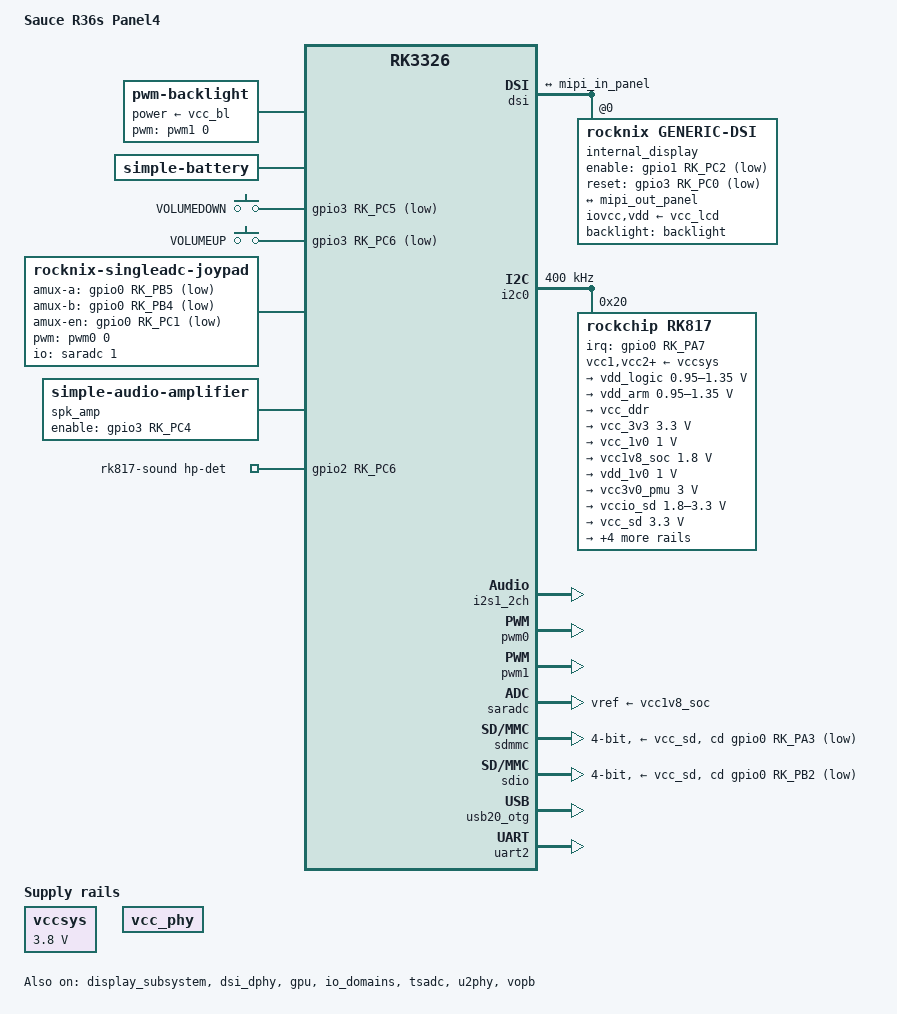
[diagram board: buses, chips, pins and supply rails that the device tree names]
// SPDX-License-Identifier: (GPL-2.0+ OR MIT)
/*
* # Copyright (C) 2022-26 AURKNIX (https://github.com/AveyondFly)
*/

/dts-v1/;
#include <dt-bindings/gpio/gpio.h>
#include <dt-bindings/input/input.h>
#include <dt-bindings/leds/common.h>
#include <dt-bindings/pinctrl/rockchip.h>
#include "rk3326.dtsi"

/ {
	model = "Sauce R36s Panel4";
	compatible = "sauce,r36s", "rockchip,rk3326";
	
	aliases {
		mmc1 = &sdio;
		mmc0 = &sdmmc;
	};
	
	chosen {
		stdout-path = "serial2:115200n8";
	};
	
	backlight: backlight {
		compatible = "pwm-backlight";
		power-supply = <&vcc_bl>;
		pwms = <&pwm1 0 40000 0>;
		brightness-levels = <
		0   1   2   3   4   5   6   7
		8   9  10  11  12  13  14  15
		16  17  18  19  20  21  22  23
		24  25  26  27  28  29  30  31
		32  33  34  35  36  37  38  39
		40  41  42  43  44  45  46  47
		48  49  50  51  52  53  54  55
		56  57  58  59  60  61  62  63
		64  65  66  67  68  69  70  71
		72  73  74  75  76  77  78  79
		80  81  82  83  84  85  86  87
		88  89  90  91  92  93  94  95
		96  97  98  99 100 101 102 103
		104 105 106 107 108 109 110 111
		112 113 114 115 116 117 118 119
		120 121 122 123 124 125 126 127
		128 129 130 131 132 133 134 135
		136 137 138 139 140 141 142 143
		144 145 146 147 148 149 150 151
		152 153 154 155 156 157 158 159
		160 161 162 163 164 165 166 167
		168 169 170 171 172 173 174 175
		176 177 178 179 180 181 182 183
		184 185 186 187 188 189 190 191
		192 193 194 195 196 197 198 199
		200 201 202 203 204 205 206 207
		208 209 210 211 212 213 214 215
		216 217 218 219 220 221 222 223
		224 225 226 227 228 229 230 231
		232 233 234 235 236 237 238 239
		240 241 242 243 244 245 246 247
		248 249 250 251 252 253 254 255>;
		default-brightness-level = <80>;
	};
	
	battery: battery {
		compatible = "simple-battery";
		charge-full-design-microamp-hours = <3000000>;
		charge-term-current-microamp = <200000>;
		constant-charge-current-max-microamp = <1500000>;
		constant-charge-voltage-max-microvolt = <4200000>;
		factory-internal-resistance-micro-ohms = <100000>;
		voltage-max-design-microvolt = <4100000>;
		voltage-min-design-microvolt = <3300000>;
		
		ocv-capacity-celsius = <20>;
		ocv-capacity-table-0 =
		<4046950 100>, <4001920 95>, <3967900 90>, <3940000 85>,
		<3910000 80>, <3870000 75>, <3830000 70>, <3790000 65>,
		<3750000 60>, <3720000 55>, <3690000 50>, <3650000 45>,
		<3610000 40>, <3570000 35>, <3540000 30>, <3500000 25>,
		<3460000 20>, <3420000 15>, <3380000 10>, <3340000 5>,
		<3300000 0>;
	};
	
	gpio-keys-vol {
		compatible = "gpio-keys";
		autorepeat;
		pinctrl-0 = <&btn_pins_vol>;
		pinctrl-names = "default";
		
		button-vol-down {
			gpios = <&gpio3 RK_PC5 GPIO_ACTIVE_LOW>;
			label = "VOLUMEDOWN";
			linux,code = <KEY_VOLUMEDOWN>;
		};
		
		button-volume-up {
			gpios = <&gpio3 RK_PC6 GPIO_ACTIVE_LOW>;
			label = "VOLUMEUP";
			linux,code = <KEY_VOLUMEUP>;
		};
	};
	
	joypad: rocknix-singleadc-joypad {
		compatible = "rocknix-singleadc-joypad";
		pwms = <&pwm0 0 200000000 0>;
		pwm-names = "enable";
		rumble-boost-weak = <0x0000>;
		rumble-boost-strong = <0x0000>;
		
		joypad-name = "retrogame_joypad";
		joypad-vendor = <0x484B>;
		joypad-product = <0x1101>;
		joypad-revision = <0x0100>;
		
		status = "okay";
		
		/* gpio pincontrol setup */
		pinctrl-names = "default";
		pinctrl-0 = <&btn_pins>;
		pinctrl-1 = <&pwm0_pin>;
		
		/* Analog mux define */
		io-channel-names = "amux_adc";
		io-channels = <&saradc 1>;
		
		/* adc mux channel count */
		amux-count = <4>;
		amux-channel-mapping = <3 2 0 1>;
		/* adc mux select(a,b) gpio */
		amux-a-gpios = <&gpio0 RK_PB5 GPIO_ACTIVE_LOW>;
		amux-b-gpios = <&gpio0 RK_PB4 GPIO_ACTIVE_LOW>;
		/* adc mux enable gpio */
		amux-en-gpios = <&gpio0 RK_PC1 GPIO_ACTIVE_LOW>;
		
		/* adc calculate scale */
		button-adc-scale = <2>;
		
		/* adc deadzone range  */
		button-adc-deadzone = <64>;
		
		/*
		specifies fuzz value that is used to filter noise from
		the event stream.
		*/
		button-adc-fuzz = <32>;
		button-adc-flat = <32>;
		
		/*
		Analog Stick data tuning value(precent)
		p = positive direction, n = negative direction
		report value = (real_adc_data * tuning_value) / 100
		*/
		abs_x-p-tuning = <300>;
		abs_x-n-tuning = <300>;
		
		abs_y-p-tuning = <300>;
		abs_y-n-tuning = <300>;
		
		abs_rx-p-tuning = <300>;
		abs_rx-n-tuning = <300>;
		
		abs_ry-p-tuning = <300>;
		abs_ry-n-tuning = <300>;
		
		/* poll device interval (ms), adc read interval */
		poll-interval = <10>;
		
		/* required for RG36S */
		invert-absx;
		invert-absy;
		
		/* gpio button auto repeat set value : default disable */
		/*
		autorepeat;
		*/
		
		/*
		joypad driver is poll-device driver.
		poll-device is does not support wakeup-source.
		*/
		sw1 {
			gpios = <&gpio3 RK_PA7 GPIO_ACTIVE_LOW>;
			label = "GPIO DPAD-UP";
			linux,code = <BTN_DPAD_UP>;
		};
		sw2 {
			gpios = <&gpio3 RK_PB0 GPIO_ACTIVE_LOW>;
			label = "GPIO DPAD-DOWN";
			linux,code = <BTN_DPAD_DOWN>;
		};
		sw3 {
			gpios = <&gpio3 RK_PB2 GPIO_ACTIVE_LOW>;
			label = "GPIO DPAD-LEFT";
			linux,code = <BTN_DPAD_LEFT>;
		};
		sw4 {
			gpios = <&gpio3 RK_PB1 GPIO_ACTIVE_LOW>;
			label = "GPIO DPAD-RIGHT";
			linux,code = <BTN_DPAD_RIGHT>;
		};
		sw5 {
			gpios = <&gpio3 RK_PB6 GPIO_ACTIVE_LOW>;
			label = "GPIO BTN-A";
			linux,code = <BTN_EAST>;
		};
		sw6 {
			gpios = <&gpio3 RK_PB4 GPIO_ACTIVE_LOW>;
			label = "GPIO BTN-B";
			linux,code = <BTN_SOUTH>;
		};
		sw7 {
			gpios = <&gpio3 RK_PB3 GPIO_ACTIVE_LOW>;
			label = "GPIO BTN-Y";
			linux,code = <BTN_WEST>;
		};
		sw8 {
			gpios = <&gpio3 RK_PB5 GPIO_ACTIVE_LOW>;
			label = "GPIO BTN-X";
			linux,code = <BTN_NORTH>;
		};
		sw11 {
			gpios = <&gpio0 RK_PB3 GPIO_ACTIVE_LOW>;
			label = "BTN_THUMBL";
			linux,code = <BTN_THUMBL>;
		};
		sw12 {
			gpios = <&gpio3 RK_PD3 GPIO_ACTIVE_LOW>;
			label = "BTN_THUMBR";
			linux,code = <BTN_THUMBR>;
		};
		sw13 {
			gpios = <&gpio3 RK_PA4 GPIO_ACTIVE_LOW>;
			label = "GPIO BTN_F";
			linux,code = <BTN_MODE>;
		};
		sw15 {
			gpios = <&gpio3 RK_PA3 GPIO_ACTIVE_LOW>;
			label = "GPIO BTN_TL";
			linux,code = <BTN_TL>;
		};
		sw16 {
			gpios = <&gpio3 RK_PA0 GPIO_ACTIVE_LOW>;
			label = "GPIO BTN_TR";
			linux,code = <BTN_TR>;
		};
		sw19 {
			gpios = <&gpio3 RK_PA5 GPIO_ACTIVE_LOW>;
			label = "BTN_SELECT";
			linux,code = <BTN_SELECT>;
		};
		sw20 {
			gpios = <&gpio3 RK_PA2 GPIO_ACTIVE_LOW>;
			label = "GPIO BTN_TL2";
			linux,code = <BTN_TL2>;
		};
		sw21 {
			gpios = <&gpio3 RK_PA1 GPIO_ACTIVE_LOW>;
			label = "GPIO BTN_TR2";
			linux,code = <BTN_TR2>;
		};
		sw22 {
			gpios = <&gpio3 RK_PA6 GPIO_ACTIVE_LOW>;
			label = "BTN_START";
			linux,code = <BTN_START>;
		};
	};
	
	spk_amp: audio-amplifier {
		compatible = "simple-audio-amplifier";
		enable-gpios = <&gpio3 RK_PC4 GPIO_ACTIVE_HIGH>;
		pinctrl-0 = <&spk_amp_enable_h>;
		pinctrl-names = "default";
		sound-name-prefix = "Speaker Amp";
	};
	
	rk817-sound {
		compatible = "simple-audio-card";
		pinctrl-names = "default";
		pinctrl-0 = <&hp_det>;
		simple-audio-card,name = "rk817_ext";
		simple-audio-card,aux-devs = <&spk_amp>;
		simple-audio-card,format = "i2s";
		simple-audio-card,hp-det-gpio = <&gpio2 RK_PC6 GPIO_ACTIVE_HIGH>;
		simple-audio-card,mclk-fs = <256>;
		simple-audio-card,widgets =
		"Headphone", "Headphones",
		"Speaker", "Internal Speakers";
		/* despite it's just a mono speaker, we need to route both Speaker Amp channels
		Otherwise, the second channel stays on and keeps amp enabled */
		simple-audio-card,routing =
		"Headphones", "HPOL",
		"Headphones", "HPOR",
		"Internal Speakers", "Speaker Amp OUTL",
		"Internal Speakers", "Speaker Amp OUTR",
		"Speaker Amp INL", "HPOL",
		"Speaker Amp INR", "HPOR";
		
		simple-audio-card,pin-switches = "Internal Speakers";
		
		simple-audio-card,codec {
			sound-dai = <&rk817>;
		};
		
		simple-audio-card,cpu {
			sound-dai = <&i2s1_2ch>;
		};
	};

	vccsys: vccsys {
		compatible = "regulator-fixed";
		regulator-name = "vcc3v8_sys";
		regulator-always-on;
		regulator-min-microvolt = <3800000>;
		regulator-max-microvolt = <3800000>;
	};
	
	vcc-phy-regulator {
		compatible = "regulator-fixed";
		regulator-name = "vcc_phy";
		regulator-always-on;
		regulator-boot-on;
	};
};

&dmc {
	center-supply = <&vdd_logic>;
};

&cpu0 {
	cpu-supply = <&vdd_arm>;
};

&cpu1 {
	cpu-supply = <&vdd_arm>;
};

&cpu2 {
	cpu-supply = <&vdd_arm>;
};

&cpu3 {
	cpu-supply = <&vdd_arm>;
};

&cru {
	assigned-clocks = <&cru PLL_NPLL>,
	<&cru ACLK_BUS_PRE>, <&cru ACLK_PERI_PRE>,
	<&cru HCLK_BUS_PRE>, <&cru HCLK_PERI_PRE>,
	<&cru PCLK_BUS_PRE>, <&cru SCLK_GPU>;
	
	assigned-clock-rates = <1188000000>,
	<200000000>, <200000000>,
	<150000000>, <150000000>,
	<100000000>, <200000000>;
};

&display_subsystem {
	status = "okay";
};

&dsi {
	status = "okay";
	
	ports {
		mipi_out: port@1 {
			reg = <1>;
			
			mipi_out_panel: endpoint {
				remote-endpoint = <&mipi_in_panel>;
			};
		};
	};
	
	internal_display: panel@0 {
		compatible = "rocknix,generic-dsi";
		iovcc-supply = <&vcc_lcd>;
		vdd-supply = <&vcc_lcd>;
		reg = <0>;
		backlight = <&backlight>;
		enable-gpios = <&gpio1 RK_PC2 GPIO_ACTIVE_LOW>;
		reset-gpios = <&gpio3 RK_PC0 GPIO_ACTIVE_LOW>;
		pinctrl-names = "default";
		pinctrl-0 = <&lcd_rst>;
		panel_description =
		"G size=71,71 delays=100,50,20,200,50 format=rgb888 lanes=4 flags=0xe03",
		
		"M clock=40000 horizontal=640,46,2,44 vertical=480,16,2,14 default=1",
		"M clock=19950 horizontal=640,46,11,44 vertical=480,16,29,14",
		"M clock=19110 horizontal=640,46,5,44 vertical=480,16,10,14",
		"M clock=19650 horizontal=640,46,33,44 vertical=480,16,5,14",
		"M clock=22080 horizontal=640,46,20,44 vertical=480,16,2,14",
		"M clock=26740 horizontal=640,46,10,44 vertical=480,16,95,14",
		"M clock=23940 horizontal=640,46,11,44 vertical=480,16,29,14",
		"M clock=23040 horizontal=640,46,20,44 vertical=480,16,2,14",
		"M clock=22920 horizontal=640,46,2,44 vertical=480,16,11,14",
		"M clock=35310 horizontal=640,46,32,44 vertical=480,16,104,14",
		"M clock=40230 horizontal=640,46,20,44 vertical=480,16,86,14",
		"M clock=46080 horizontal=640,46,20,44 vertical=480,16,2,14",
		
		"I seq=ff30", "I seq=ff52", "I seq=ff01",
		"I seq=e300",
		"I seq=2510",
		"I seq=286f", "I seq=2901", "I seq=2adf", "I seq=2c22",
		"I seq=c30f",
		"I seq=379c",
		"I seq=38a7", "I seq=3941",
		"I seq=8020",
		"I seq=9167", "I seq=9267",
		"I seq=a055", "I seq=a150", "I seq=a358", "I seq=a49c", "I seq=a702",
		"I seq=a801", "I seq=a921", "I seq=aafc", "I seq=ab28", "I seq=ac06", "I seq=ad06", "I seq=ae06", "I seq=af03",
		"I seq=b008", "I seq=b126", "I seq=b228", "I seq=b328", "I seq=b403", "I seq=b508", "I seq=b626", "I seq=b708",
		"I seq=b826",
		"I seq=c000", "I seq=c100", "I seq=c200",
		"I seq=ff30", "I seq=ff52", "I seq=ff02",
		"I seq=b002",
		"I seq=d002",
		"I seq=b10f",
		"I seq=d110",
		"I seq=b211",
		"I seq=d212",
		"I seq=b332",
		"I seq=d333",
		"I seq=b436",
		"I seq=d436",
		"I seq=b53c",
		"I seq=d53c",
		"I seq=b620",
		"I seq=d620",
		"I seq=b73e",
		"I seq=d73e",
		"I seq=b80e",
		"I seq=d80d",
		"I seq=b905",
		"I seq=d905",
		"I seq=ba11",
		"I seq=da12",
		"I seq=bb11",
		"I seq=db11",
		"I seq=bc13",
		"I seq=dc14",
		"I seq=bd14",
		"I seq=dd14",
		"I seq=be16",
		"I seq=de18",
		"I seq=bf0e",
		"I seq=df0f",
		"I seq=c017",
		"I seq=e017",
		"I seq=c107",
		"I seq=e108",
		"I seq=ff30", "I seq=ff52", "I seq=ff03",
		"I seq=088a", "I seq=098b",
		"I seq=3000", "I seq=3100", "I seq=3200", "I seq=3300", "I seq=3461", "I seq=35d4", "I seq=3624", "I seq=3703",
		"I seq=4086", "I seq=4187", "I seq=4284", "I seq=4385", "I seq=4411", "I seq=45de", "I seq=46dd", "I seq=4711",
		"I seq=48e0", "I seq=49df",
		"I seq=5082", "I seq=5183", "I seq=5280", "I seq=5381", "I seq=5411", "I seq=55e2", "I seq=56e1", "I seq=5711",
		"I seq=58e4", "I seq=59e3",
		"I seq=820f", "I seq=830f", "I seq=8400", "I seq=850f", "I seq=860f", "I seq=870e",
		"I seq=880e", "I seq=8906", "I seq=8a06", "I seq=8b07", "I seq=8c07", "I seq=8d04", "I seq=8e04", "I seq=8f05",
		"I seq=9005",
		"I seq=980f", "I seq=990f", "I seq=9a00", "I seq=9b0f", "I seq=9c0f", "I seq=9d0e", "I seq=9e0e", "I seq=9f06",
		"I seq=a006", "I seq=a107", "I seq=a207", "I seq=a304", "I seq=a404", "I seq=a505", "I seq=a605",
		"I seq=e002", "I seq=e152",
		"I seq=ff30", "I seq=ff52", "I seq=ff00",
		"I seq=3602",
		"I seq=1100 wait=200",
		"I seq=2900 wait=100";
		port {
			mipi_in_panel: endpoint {
				remote-endpoint = <&mipi_out_panel>;
			};
		};
	};
};

&dsi_dphy {
	status = "okay";
};

&gpu {
	mali-supply = <&vdd_logic>;
	status = "okay";
};

&i2c0 {
	clock-frequency = <400000>;
	i2c-scl-falling-time-ns = <16>;
	i2c-scl-rising-time-ns = <280>;
	status = "okay";
	
	rk817: pmic@20 {
		compatible = "rockchip,rk817";
		reg = <0x20>;
		interrupt-parent = <&gpio0>;
		interrupts = <RK_PA7 IRQ_TYPE_LEVEL_LOW>;
		clock-output-names = "rk808-clkout1", "xin32k";
		clock-names = "mclk";
		clocks = <&cru SCLK_I2S1_OUT>;
		pinctrl-names = "default";
		pinctrl-0 = <&pmic_int>, <&i2s1_2ch_mclk>;
		rockchip,system-power-controller;
		wakeup-source;
		#clock-cells = <1>;
		#sound-dai-cells = <0>;
		
		vcc1-supply = <&vccsys>;
		vcc2-supply = <&vccsys>;
		vcc3-supply = <&vccsys>;
		vcc4-supply = <&vccsys>;
		vcc5-supply = <&vccsys>;
		vcc6-supply = <&vccsys>;
		vcc7-supply = <&vccsys>;
		vcc8-supply = <&vccsys>;
		
		regulators {
			vdd_logic: DCDC_REG1 {
				regulator-name = "vdd_logic";
				regulator-min-microvolt = <950000>;
				regulator-max-microvolt = <1350000>;
				regulator-initial-mode = <0x02>;
				regulator-ramp-delay = <6001>;
				regulator-always-on;
				regulator-boot-on;
				
				regulator-state-mem {
					regulator-on-in-suspend;
					regulator-suspend-microvolt = <950000>;
				};
			};
			
			vdd_arm: DCDC_REG2 {
				regulator-name = "vdd_arm";
				regulator-min-microvolt = <950000>;
				regulator-max-microvolt = <1350000>;
				regulator-ramp-delay = <6001>;
				regulator-initial-mode = <0x02>;
				regulator-always-on;
				regulator-boot-on;
				
				regulator-state-mem {
					regulator-off-in-suspend;
					regulator-suspend-microvolt = <950000>;
				};
			};
			
			vcc_ddr: DCDC_REG3 {
				regulator-name = "vcc_ddr";
				regulator-always-on;
				regulator-boot-on;
				regulator-initial-mode = <0x02>;
				
				regulator-state-mem {
					regulator-on-in-suspend;
				};
			};
			
			vcc_3v3: DCDC_REG4 {
				regulator-name = "vcc_3v3";
				regulator-min-microvolt = <3300000>;
				regulator-max-microvolt = <3300000>;
				regulator-initial-mode = <0x02>;
				regulator-always-on;
				regulator-boot-on;
				
				regulator-state-mem {
					regulator-on-in-suspend;
					regulator-suspend-microvolt = <3300000>;
				};
			};
			
			vcc_1v0: LDO_REG1 {
				regulator-name = "vcc_1v0";
				regulator-always-on;
				regulator-boot-on;
				regulator-min-microvolt = <1000000>;
				regulator-max-microvolt = <1000000>;
				
				regulator-state-mem {
					regulator-off-in-suspend;
					regulator-suspend-microvolt = <1000000>;
				};
			};
			
			vcc1v8_soc: LDO_REG2 {
				regulator-name = "vcc1v8_soc";
				regulator-min-microvolt = <1800000>;
				regulator-max-microvolt = <1800000>;
				regulator-always-on;
				regulator-boot-on;
				
				regulator-state-mem {
					regulator-on-in-suspend;
					regulator-suspend-microvolt = <1800000>;
				};
			};
			
			vdd_1v0: LDO_REG3 {
				regulator-name = "vdd_1v0";
				regulator-min-microvolt = <1000000>;
				regulator-max-microvolt = <1000000>;
				regulator-always-on;
				regulator-boot-on;
				
				regulator-state-mem {
					regulator-on-in-suspend;
					regulator-suspend-microvolt = <1000000>;
				};
			};
			
			vcc3v0_pmu: LDO_REG4 {
				regulator-name = "vcc3v0_pmu";
				regulator-min-microvolt = <3000000>;
				regulator-max-microvolt = <3000000>;
				regulator-always-on;
				regulator-boot-on;
				
				regulator-state-mem {
					regulator-on-in-suspend;
					regulator-suspend-microvolt = <3000000>;
				};
			};
			
			vccio_sd: LDO_REG5 {
				regulator-name = "vccio_sd";
				regulator-min-microvolt = <1800000>;
				regulator-max-microvolt = <3300000>;
				regulator-always-on;
				regulator-boot-on;
				
				regulator-state-mem {
					regulator-on-in-suspend;
					regulator-suspend-microvolt = <3300000>;
				};
			};
			
			vcc_sd: LDO_REG6 {
				regulator-name = "vcc_sd";
				regulator-min-microvolt = <3300000>;
				regulator-max-microvolt = <3300000>;
				regulator-boot-on;
				
				regulator-state-mem {
					regulator-on-in-suspend;
					regulator-suspend-microvolt = <3300000>;
				};
			};
			
			vcc_bl: LDO_REG7 {
				regulator-name = "vcc_bl";
				regulator-min-microvolt = <3300000>;
				regulator-max-microvolt = <3300000>;
				regulator-always-on;
				regulator-boot-on;
				
				regulator-state-mem {
					regulator-off-in-suspend;
					regulator-suspend-microvolt = <3300000>;
				};
			};
			
			vcc_lcd: LDO_REG8 {
				regulator-name = "vcc_lcd";
				regulator-min-microvolt = <3300000>;
				regulator-max-microvolt = <3300000>;
				regulator-always-on;
				regulator-boot-on;
				
				regulator-state-mem {
					regulator-on-in-suspend;
					regulator-suspend-microvolt = <3300000>;
				};
			};
			
			vdd_11: LDO_REG9 {
				regulator-min-microvolt = <1100000>;
				regulator-max-microvolt = <1100000>;
				regulator-name = "vdd_11";
				regulator-always-on;
				regulator-boot-on;
				
				regulator-state-mem {
					regulator-on-in-suspend;
					regulator-suspend-microvolt = <1100000>;
				};
			};
			
			usb_midu: BOOST {
				regulator-name = "usb_midu";
				regulator-min-microvolt = <4700000>;
				regulator-max-microvolt = <5400000>;
				regulator-always-on;
				regulator-boot-on;
			};
			
		};
		
		rk817_charger: charger {
			monitored-battery = <&battery>;
			rockchip,resistor-sense-micro-ohms = <10000>;
			rockchip,sleep-enter-current-microamp = <300000>;
			rockchip,sleep-filter-current-microamp = <100000>;
		};
		
		rk817_codec: codec {
			rockchip,mic-in-differential;
		};
	};
};

/* I2S 1 Channel Used Header(P2):1(GPIO2.C3),2(.C2), 3(.C1), 4(.C5), 5(.C4) */
&i2s1_2ch {
	status = "okay";
	#sound-dai-cells = <0>;
};

&io_domains {
	vccio1-supply = <&vccio_sd>;
	vccio2-supply = <&vccio_sd>;
	vccio3-supply = <&vcc_3v3>;
	vccio4-supply = <&vcc_3v3>;
	vccio5-supply = <&vcc_3v3>;
	vccio6-supply = <&vcc_3v3>;
	status = "okay";
};

&pmu_io_domains {
	pmuio1-supply = <&vcc3v0_pmu>;
	pmuio2-supply = <&vcc3v0_pmu>;
	status = "okay";
};

&pwm0 {
	status = "okay";
};

&pwm1 {
	status = "okay";
};

&saradc {
	vref-supply = <&vcc1v8_soc>;
	status = "okay";
};

&sdmmc {
	bus-width = <4>;
	cap-sd-highspeed;
	card-detect-delay = <800>;
	cd-gpios = <&gpio0 RK_PA3 GPIO_ACTIVE_LOW>; /*[> CD GPIO <]*/
	disable-wp;
	sd-uhs-sdr12;
	sd-uhs-sdr25;
	sd-uhs-sdr50;
	sd-uhs-sdr104;
	vmmc-supply = <&vcc_sd>;
	vqmmc-supply = <&vccio_sd>;
	status = "okay";
};

&sdio {
	bus-width = <4>;
	cap-sd-highspeed;
	card-detect-delay = <800>;
	cd-gpios = <&gpio0 RK_PB2 GPIO_ACTIVE_LOW>; /*[> CD GPIO <]*/
	disable-wp;
	sd-uhs-sdr12;
	sd-uhs-sdr25;
	sd-uhs-sdr50;
	sd-uhs-sdr104;
	vmmc-supply = <&vcc_sd>;
	vqmmc-supply = <&vccio_sd>;
	status = "okay";
};

&tsadc {
	status = "okay";
};

&u2phy {
	status = "okay";
	
	u2phy_host: host-port {
		status = "okay";
	};
	
	u2phy_otg: otg-port {
		status = "disabled";
	};
};

&usb20_otg {
	status = "okay";
};

&uart2 {
	pinctrl-names = "default";
	pinctrl-0 = <&uart2m1_xfer>;
	status = "okay";
};

&vopb {
	status = "okay";
};

&vopb_mmu {
	status = "okay";
};

&pinctrl {
	btns {
		btn_pins: btn-pins {
			rockchip,pins =
			<3 RK_PA7 RK_FUNC_GPIO &pcfg_pull_up>,
			<3 RK_PB0 RK_FUNC_GPIO &pcfg_pull_up>,
			<3 RK_PB2 RK_FUNC_GPIO &pcfg_pull_up>,
			<3 RK_PB1 RK_FUNC_GPIO &pcfg_pull_up>,
			<3 RK_PB6 RK_FUNC_GPIO &pcfg_pull_up>,
			<3 RK_PB4 RK_FUNC_GPIO &pcfg_pull_up>,
			<3 RK_PB3 RK_FUNC_GPIO &pcfg_pull_up>,
			<3 RK_PB5 RK_FUNC_GPIO &pcfg_pull_up>,
			<0 RK_PB3 RK_FUNC_GPIO &pcfg_pull_up>,
			<3 RK_PD3 RK_FUNC_GPIO &pcfg_pull_up>,
			<3 RK_PA4 RK_FUNC_GPIO &pcfg_pull_up>,
			<3 RK_PA3 RK_FUNC_GPIO &pcfg_pull_up>,
			<3 RK_PA0 RK_FUNC_GPIO &pcfg_pull_up>,
			<3 RK_PA5 RK_FUNC_GPIO &pcfg_pull_up>,
			<3 RK_PA2 RK_FUNC_GPIO &pcfg_pull_up>,
			<3 RK_PA1 RK_FUNC_GPIO &pcfg_pull_up>,
			<3 RK_PA6 RK_FUNC_GPIO &pcfg_pull_up>,
			<0 RK_PB5 RK_FUNC_GPIO &pcfg_pull_up>,
			<0 RK_PB4 RK_FUNC_GPIO &pcfg_pull_up>,
			<0 RK_PC1 RK_FUNC_GPIO &pcfg_pull_up>;
		};
		btn_pins_vol: btn-pins-vol {
			rockchip,pins =
			<3 RK_PC5 RK_FUNC_GPIO &pcfg_pull_up>,
			<3 RK_PC6 RK_FUNC_GPIO &pcfg_pull_up>;
		};
	};
	headphone {
		hp_det: hp-det {
			rockchip,pins = <2 RK_PC6 RK_FUNC_GPIO &pcfg_pull_none>;
		};
	};
	
	gpio-lcd {
		lcd_rst: lcd-rst {
			rockchip,pins =
			<3 RK_PC0 RK_FUNC_GPIO &pcfg_pull_none>,
			<1 RK_PC2 RK_FUNC_GPIO &pcfg_pull_none>;
		};
	};
	
	pmic {
		
		pmic_int: pmic_int {
			rockchip,pins =
			<0 RK_PA7 RK_FUNC_GPIO &pcfg_pull_up>,
			<3 RK_PC7 RK_FUNC_GPIO &pcfg_pull_none>;
		};
		
		soc_slppin_gpio: soc_slppin_gpio {
			rockchip,pins = <0 RK_PA4 RK_FUNC_GPIO &pcfg_output_low>;
		};
		
		soc_slppin_rst: soc_slppin_rst {
			rockchip,pins = <0 RK_PA4 2 &pcfg_pull_none>;
		};
		
		soc_slppin_slp: soc_slppin_slp {
			rockchip,pins = <0 RK_PA4 1 &pcfg_pull_none>;
		};
	};
	
	speaker {
		spk_amp_enable_h: spk-amp-enable-h {
			rockchip,pins =
			<3 RK_PC4 RK_FUNC_GPIO &pcfg_pull_none>;
		};
	};
};
